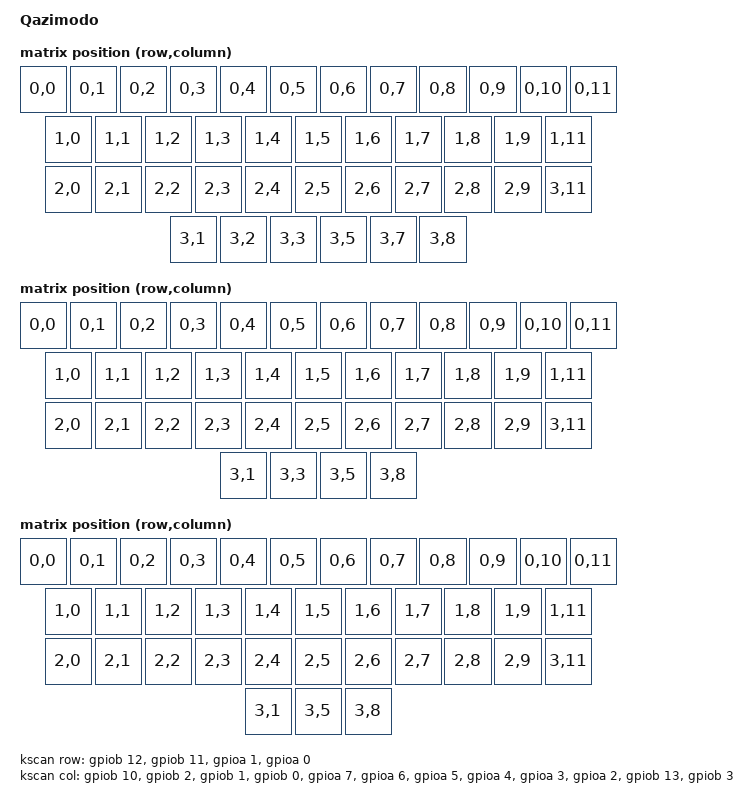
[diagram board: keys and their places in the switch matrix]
/*
* Copyright (c) 2025 The ZMK Contributors
*
* SPDX-License-Identifier: MIT
*/

/dts-v1/;
#include <st/f0/stm32f072Xb.dtsi>
#include <st/f0/stm32f072v(8-b)tx-pinctrl.dtsi>

#include <dt-bindings/zmk/matrix_transform.h>

#include "qazimodo-layouts.dtsi"

/ {
    model = "Qazimodo";
    compatible = "quasi-keys,qazimodo", "st,stm32f072";

    chosen {
        zephyr,sram = &sram0;
        zephyr,flash = &flash0;
        zmk,kscan = &kscan;
        zmk,physical-layout = &layout_dual_175u;
    };

    /omit-if-no-ref/ transform_dual_175u: transform_dual_175u {
        compatible = "zmk,matrix-transform";
        columns = <12>;
        rows = <4>;
        map = <
    RC(0,0) RC(0,1) RC(0,2) RC(0,3) RC(0,4) RC(0,5) RC(0,6) RC(0,7) RC(0,8) RC(0,9) RC(0,10) RC(0,11)
    RC(1,0)   RC(1,1)   RC(1,2) RC(1,3) RC(1,4) RC(1,5) RC(1,6) RC(1,7) RC(1,8)     RC(1,9)  RC(1,11)
    RC(2,0)     RC(2,1)   RC(2,2) RC(2,3) RC(2,4) RC(2,5) RC(2,6) RC(2,7) RC(2,8)   RC(2,9)  RC(3,11)
                    RC(3,1) RC(3,2)  RC(3,3)    RC(3,5)  RC(3,7) RC(3,8)
        >;
    };

    /omit-if-no-ref/ transform_225u_275u: transform_225u_275u {
        compatible = "zmk,matrix-transform";
        columns = <12>;
        rows = <4>;
        map = <
    RC(0,0) RC(0,1) RC(0,2) RC(0,3) RC(0,4) RC(0,5) RC(0,6) RC(0,7) RC(0,8) RC(0,9) RC(0,10) RC(0,11)
    RC(1,0)   RC(1,1)   RC(1,2) RC(1,3) RC(1,4) RC(1,5) RC(1,6) RC(1,7) RC(1,8)     RC(1,9)  RC(1,11)
    RC(2,0)     RC(2,1)   RC(2,2) RC(2,3) RC(2,4) RC(2,5) RC(2,6) RC(2,7) RC(2,8)   RC(2,9)  RC(3,11)
                    RC(3,1)          RC(3,3)     RC(3,5)         RC(3,8)
        >;
    };

    /omit-if-no-ref/ transform_6u: transform_6u {
        compatible = "zmk,matrix-transform";
        columns = <12>;
        rows = <4>;
        map = <
    RC(0,0) RC(0,1) RC(0,2) RC(0,3) RC(0,4) RC(0,5) RC(0,6) RC(0,7) RC(0,8) RC(0,9) RC(0,10) RC(0,11)
    RC(1,0)   RC(1,1)   RC(1,2) RC(1,3) RC(1,4) RC(1,5) RC(1,6) RC(1,7) RC(1,8)     RC(1,9)  RC(1,11)
    RC(2,0)     RC(2,1)   RC(2,2) RC(2,3) RC(2,4) RC(2,5) RC(2,6) RC(2,7) RC(2,8)   RC(2,9)  RC(3,11)
                    RC(3,1)               RC(3,5)                RC(3,8)
        >;
    };

    kscan: kscan {
        compatible = "zmk,kscan-gpio-matrix";
        diode-direction = "col2row";

        col-gpios
        = <&gpiob 10 GPIO_ACTIVE_HIGH>
        , <&gpiob  2 GPIO_ACTIVE_HIGH>
        , <&gpiob  1 GPIO_ACTIVE_HIGH>
        , <&gpiob  0 GPIO_ACTIVE_HIGH>
        , <&gpioa  7 GPIO_ACTIVE_HIGH>
        , <&gpioa  6 GPIO_ACTIVE_HIGH>
        , <&gpioa  5 GPIO_ACTIVE_HIGH>
        , <&gpioa  4 GPIO_ACTIVE_HIGH>
        , <&gpioa  3 GPIO_ACTIVE_HIGH>
        , <&gpioa  2 GPIO_ACTIVE_HIGH>
        , <&gpiob 13 GPIO_ACTIVE_HIGH>
        , <&gpiob  3 GPIO_ACTIVE_HIGH>
        ;
        row-gpios
        = <&gpiob 12 (GPIO_ACTIVE_HIGH | GPIO_PULL_DOWN)>
        , <&gpiob 11 (GPIO_ACTIVE_HIGH | GPIO_PULL_DOWN)>
        , <&gpioa  1 (GPIO_ACTIVE_HIGH | GPIO_PULL_DOWN)>
        , <&gpioa  0 (GPIO_ACTIVE_HIGH | GPIO_PULL_DOWN)>
        ;
    };
};

&gpioc { status = "disabled"; };
&gpiod { status = "disabled"; };
&gpioe { status = "disabled"; };
&gpiof { status = "disabled"; };

zephyr_udc0: &usb {
    status = "okay";

    pinctrl-0 = <&usb_dm_pa11 &usb_dp_pa12>;
    pinctrl-names = "default";
};

&clk_hsi {
    status = "okay";
};

&clk_hsi48 {
    status = "okay";
};

&pll {
    prediv = <1>;
    mul = <6>;
    clocks = <&clk_hsi>;
    status = "okay";
};

&rcc {
    clocks = <&pll>;
    clock-frequency = <DT_FREQ_M(48)>;
    ahb-prescaler = <1>;
    apb1-prescaler = <1>;
};


&rtc {
    status = "okay";
};
